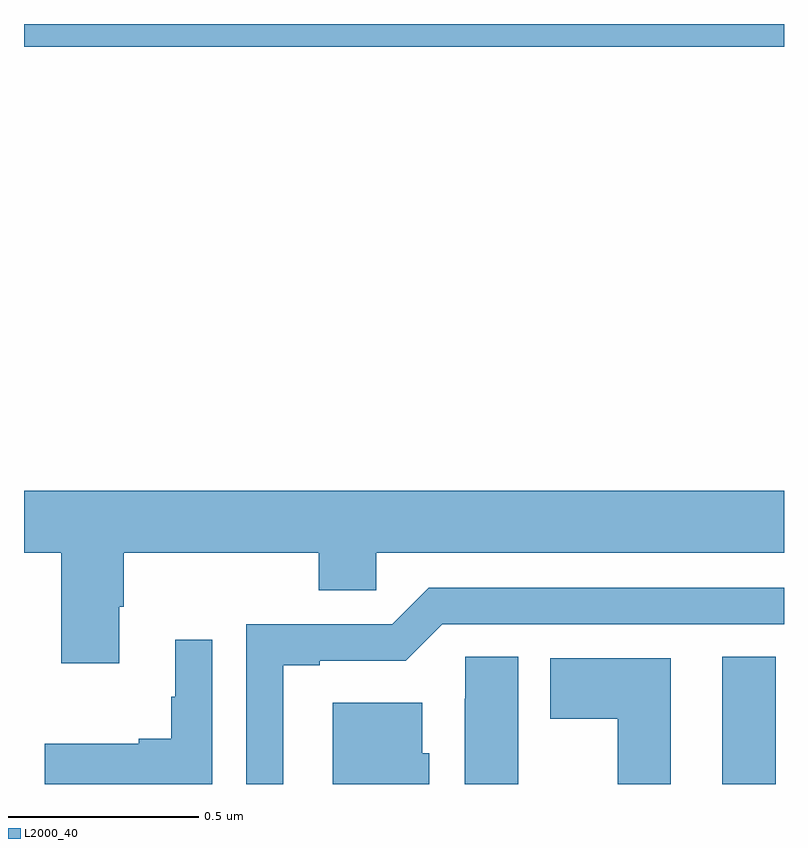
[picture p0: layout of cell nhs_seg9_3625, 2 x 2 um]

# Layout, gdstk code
import gdstk
lib = gdstk.Library(unit=1e-6, precision=1e-09)
def R(c, l, rs):  # rectangles x0, y0, x1, y1
    for r in rs: c.add(gdstk.rectangle(r[:2], r[2:], *l))
def P(c, l, *ps):  # polygons
    for p in ps: c.add(gdstk.Polygon(p, *l))
L2000_40 = (2000, 40)

nhs_seg9_3625 = lib.new_cell('nhs_seg9_3625')
R(nhs_seg9_3625, L2000_40, [(157.838,1174.5,157.978,1174.835), (156,1176.44,158,1176.5)])
P(nhs_seg9_3625, L2000_40, [(156.25,1174.966),(156.263,1174.966),(156.263,1175.108),(156.776,1175.108),(156.776,1175.01),(156.927,1175.01),(156.927,1175.108),(158,1175.108),(158,1175.272),(156,1175.272),(156,1175.108),(156.098,1175.108),(156.098,1174.818),(156.25,1174.818)],
  [(156.682,1174.812),(156.778,1174.812),(156.778,1174.824),(157.005,1174.824),(157.101,1174.92),(158,1174.92),(158,1175.016),(157.065,1175.016),(156.969,1174.92),(156.585,1174.92),(156.585,1174.5),(156.682,1174.5)],
  [(156.495,1174.879),(156.398,1174.879),(156.398,1174.73),(156.387,1174.73),(156.387,1174.619),(156.302,1174.619),(156.302,1174.606),(156.054,1174.606),(156.054,1174.5),(156.495,1174.5)],
  [(157.3,1174.835),(157.161,1174.835),(157.161,1174.724),(157.16,1174.724),(157.16,1174.5),(157.3,1174.5)],
  [(157.702,1174.831),(157.385,1174.831),(157.385,1174.672),(157.562,1174.672),(157.562,1174.5),(157.702,1174.5)],
  [(157.066,1174.581),(157.048,1174.581),(157.048,1174.714),(156.812,1174.714),(156.812,1174.5),(157.066,1174.5)])

lib.write_gds('nhs_seg9_3625.gds')
